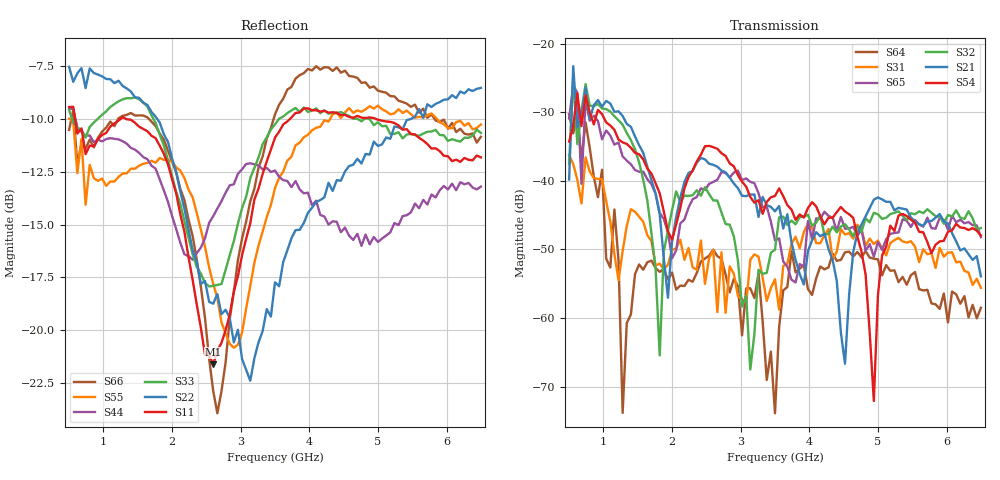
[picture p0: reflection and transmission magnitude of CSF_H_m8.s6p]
!Keysight Technologies,M9804A,MY58100912,A.14.10.03
!Date: Thursday, April 27, 2023 10:28:33
!Correction: S11(C  6-Port  )
!S12(C  6-Port  )
!S13(C  6-Port  )
!S14(C  6-Port  )
!S15(C  6-Port  )
!S16(C  6-Port  )
!S21(C  6-Port  )
!S22(C  6-Port  )
!S23(C  6-Port  )
!S24(C  6-Port  )
!S25(C  6-Port  )
!S26(C  6-Port  )
!S31(C  6-Port  )
!S32(C  6-Port  )
!S33(C  6-Port  )
!S34(C  6-Port  )
!S35(C  6-Port  )
!S36(C  6-Port  )
!S41(C  6-Port  )
!S42(C  6-Port  )
!S43(C  6-Port  )
!S44(C  6-Port  )
!S45(C  6-Port  )
!S46(C  6-Port  )
!S51(C  6-Port  )
!S52(C  6-Port  )
!S53(C  6-Port  )
!S54(C  6-Port  )
!S55(C  6-Port  )
!S56(C  6-Port  )
!S61(C  6-Port  )
!S62(C  6-Port  )
!S63(C  6-Port  )
!S64(C  6-Port  )
!S65(C  6-Port  )
!S66(C  6-Port  )
!S6P File: Measurement: :
# Hz S  RI  R 50
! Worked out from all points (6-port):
!   101 points, 500 MHz to 6.5 GHz, reference 50 ohm
!   strongest paths, dB at 500 MHz, 2 GHz, 3.5 GHz, 5 GHz, 6.5 GHz:
!     S54: -34.3, -48.6, -42.2, -56.7, -48.0
!     S21: -39.8, -48.8, -44.4, -42.4, -53.9
!     S32: -37.5, -44.3, -50.1, -44.9, -46.9
!     S65: -30.9, -51.3, -48.7, -48.9, -48.2
!     S31: -36.2, -50.1, -54.4, -48.7, -55.6
!     S64: -30.3, -53.4, -73.9, -51.5, -58.5
!   lowest |S11| = -21.6 dB at 2.6 GHz (marker M1), VSWR 1.18, Z = 42.6 + j2.05 ohm
!   |S11| at or under -10 dB: 587.5 MHz to 1.247 GHz (659.3 MHz wide, 71.9 % of centre); 1.334 GHz to 3.715 GHz (2.382 GHz wide, 94.3 % of centre); 4.977 GHz to end of sweep
